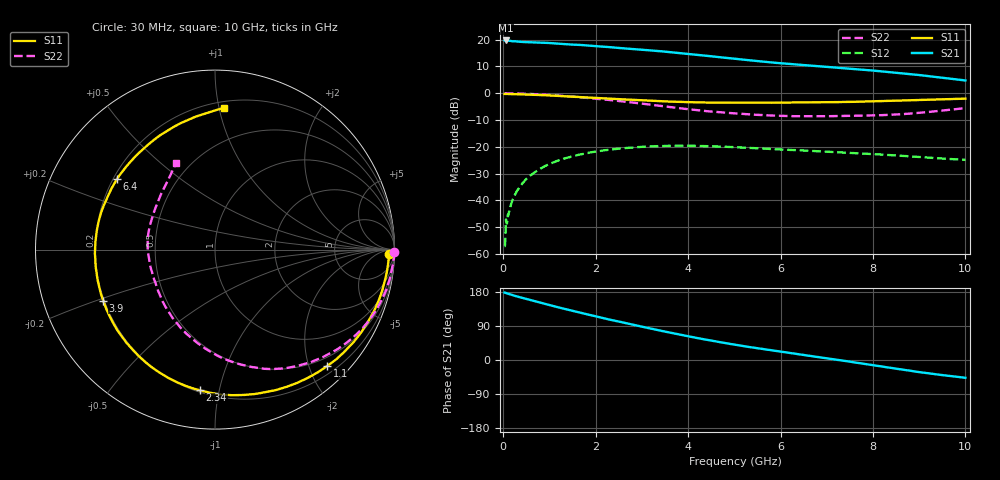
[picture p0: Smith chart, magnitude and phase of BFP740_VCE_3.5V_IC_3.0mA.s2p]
! Infineon Technologies  Discrete & RF Semiconductors
! BFP740
! VCE =  3.5 V,  IC =  3.0 mA
! Common Emitter S-Parameters:  Jan 2016
# GHz  S  MA  R  50
!  f  S11  S21  S12  S22
! GHz  MAG  ANG  MAG  ANG  MAG  ANG  MAG  ANG
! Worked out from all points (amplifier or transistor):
!   229 points, 30 MHz to 10 GHz, reference 50 ohm
!   highest |S21| = 19.7 dB at 50 MHz (marker M1)
!   |S21| within 3 dB of that: start of sweep to 2.641 GHz
!   unconditionally stable (mu >= 1): 8.236 GHz to end of sweep
!   at 280 MHz: K = 0.08, MSG = 28.1 dB, |S12| = -37.0 dB
!   at 1.78 GHz: K = 0.19, MSG = 20.2 dB, |S12| = -22.4 dB
!   at 10 GHz: K = 1.23, MAG = 11.9 dB, |S12| = -24.9 dB
!   S11 on the Smith chart (normalised r, x): 30 MHz: 43, -32; 1.1 GHz: 0.33, -2.30; 2.34 GHz: 0.21, -0.88; 3.9 GHz: 0.20, -0.21; 6.4 GHz: 0.22, +0.31; 10 GHz: 0.24, +1.04
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0.03  0.9707 -1.3  9.66 177.9  0.0014 81.9  0.998 -0.9
0.04  0.9705 -1.8  9.496 177.5  0.0015 67.9  0.9978 -1.2
0.05  0.9717 -2.1  9.661 177.3  0.0029 114.3  0.9967 -1.6
0.06  0.9711 -2.6  9.604 176.6  0.0044 93.4  0.9986 -1.7
0.08  0.9687 -3.4  9.541 175.8  0.0037 78.4  0.998 -2.4
0.11  0.9679 -4.9  9.597 174.5  0.0052 87.3  0.997 -3.3
0.2  0.9646 -8.7  9.335 171.1  0.0102 85.2  0.9928 -5.9
0.4  0.9552 -17.0  9.068 164.4  0.0202 77.8  0.9816 -11.7
0.9  0.9194 -38.0  8.786 148.2  0.0435 64.2  0.9403 -25.8
1.1  0.9011 -46.2  8.542 141.9  0.052 58.4  0.9165 -31.4
1.7  0.8424 -70.7  7.938 123.7  0.073 43.2  0.8361 -47.1
2.34  0.7886 -96.1  7.206 105.6  0.0893 28.1  0.7425 -63.6
2.8  0.7526 -113.9  6.692 93.3  0.0973 18.4  0.6709 -74.8
3.4  0.7094 -137.3  6.086 77.5  0.1035 6.3  0.5815 -90.4
3.9  0.6848 -155.5  5.546 65.1  0.1048 -3.0  0.515 -103.7
4.4  0.6716 -172.3  5.002 53.4  0.1029 -11.4  0.4631 -116.9
5.1  0.6667 168.8  4.315 38.6  0.0978 -21.0  0.4156 -133.1
6.4  0.6723 144.2  3.4 15.1  0.0861 -33.0  0.3725 -162.2
6.8  0.6768 137.2  3.192 8.0  0.0829 -36.0  0.3705 -171.9
8.4  0.7222 108.3  2.461 -21.0  0.0699 -45.4  0.397 149.9
9  0.7488 98.2  2.186 -32.0  0.0646 -47.7  0.4316 134.1
10  0.7926 86.2  1.732 -47.0  0.0571 -46.7  0.5275 114.5
